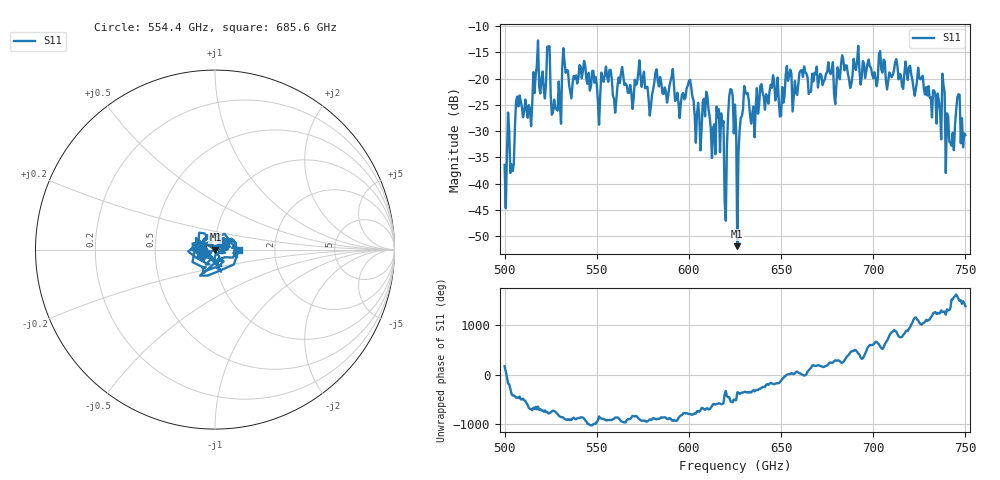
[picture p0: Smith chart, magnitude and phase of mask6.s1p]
!Created with skrf (http://scikit-rf.org).
# GHz S MA R 50.0
!freq magS11 angS11
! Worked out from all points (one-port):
!   401 points, 500 GHz to 750 GHz, reference 50 ohm
!   lowest |S11| = -51.9 dB at 626.2 GHz (marker M1), VSWR 1.01, Z = 50.3 + j0.0218 ohm
!   |S11| at or under -10 dB: start of sweep to end of sweep
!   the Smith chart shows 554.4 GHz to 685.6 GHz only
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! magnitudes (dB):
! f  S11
! 500 GHz  -36.4
! 504.4 GHz  -37.6
! 507.5 GHz  -25.3
! 513.8 GHz  -25.8
! 516.9 GHz  -19.3
! 523.8 GHz  -13.9
! 526.9 GHz  -24.0
! 531.2 GHz  -17.9
! 562.5 GHz  -20.8
! 593.8 GHz  -22.7
! 600 GHz  -20.5
! 605 GHz  -24.6
! 609.4 GHz  -22.5
! 613.1 GHz  -29.4
! 617.5 GHz  -26.6
! 619.4 GHz  -43.1
! 622.5 GHz  -22.0
! 625 GHz  -24.9
! 626.2 GHz  -51.9
! 631.2 GHz  -22.9
! 634.4 GHz  -26.7
! 656.2 GHz  -26.3
! 687.5 GHz  -21.8
! 718.8 GHz  -20.3
! 737.5 GHz  -19.1
! 742.5 GHz  -32.8
! 745.6 GHz  -23.5
! 750 GHz  -30.7
